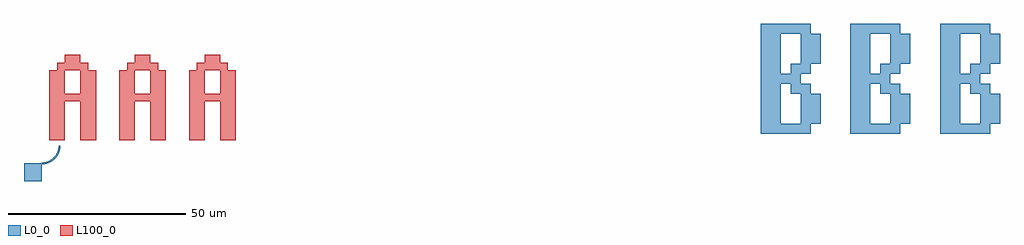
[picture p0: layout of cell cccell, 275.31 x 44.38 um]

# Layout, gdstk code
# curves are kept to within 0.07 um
import gdstk
lib = gdstk.Library(unit=1e-6, precision=1e-09)
def R(c, l, rs):  # rectangles x0, y0, x1, y1
    for r in rs: c.add(gdstk.rectangle(r[:2], r[2:], *l))
def P(c, l, *ps):  # polygons
    for p in ps: c.add(gdstk.Polygon(p, *l))
L0_0 = (0, 0)
L100_0 = (100, 0)

cccell_trace = lib.new_cell('cccell_trace')
P(cccell_trace, L0_0, [(0,0.225),(0,-0.225),(1.264,-0.07),(2.453,0.387),(3.496,1.117),(4.28,2.003),(4.81,2.958),(5.111,3.914),(5.225,5),(4.775,5),(4.679,4.047),(4.395,3.132),(3.934,2.293),(3.251,1.503),(2.562,0.97),(1.706,0.54),(0.867,0.304)])

cccell_text = lib.new_cell('cccell_text')
P(cccell_text, L100_0, [(6.562,6.562),(6.562,17.5),(10.937,17.5),(10.937,6.562),(15.312,6.562),(15.312,26.25),(13.125,26.25),(13.125,28.437),(10.937,28.437),(10.937,30.625),(6.562,30.625),(6.562,28.437),(4.375,28.437),(4.375,26.25),(2.187,26.25),(2.187,19.687),(6.562,19.687),(6.562,26.25),(10.937,26.25),(10.937,19.687),(6.562,19.687),(2.187,19.687),(2.187,6.562)],
  [(26.25,6.562),(26.25,17.5),(30.625,17.5),(30.625,6.562),(35,6.562),(35,26.25),(32.812,26.25),(32.812,28.437),(30.625,28.437),(30.625,30.625),(26.25,30.625),(26.25,28.437),(24.062,28.437),(24.062,26.25),(21.875,26.25),(21.875,19.687),(26.25,19.687),(26.25,26.25),(30.625,26.25),(30.625,19.687),(26.25,19.687),(21.875,19.687),(21.875,6.562)],
  [(45.937,6.562),(45.937,17.5),(50.312,17.5),(50.312,6.562),(54.687,6.562),(54.687,26.25),(52.5,26.25),(52.5,28.437),(50.312,28.437),(50.312,30.625),(45.937,30.625),(45.937,28.437),(43.75,28.437),(43.75,26.25),(41.562,26.25),(41.562,19.687),(45.937,19.687),(45.937,26.25),(50.312,26.25),(50.312,19.687),(45.937,19.687),(41.562,19.687),(41.562,6.562)])
cccell_text.add(gdstk.Reference(cccell_trace, (0,0)))

cccell_tcell = lib.new_cell('cccell_tcell')
P(cccell_tcell, L0_0, [(219.687,19.687),(216.875,19.687),(216.875,22.5),(214.062,22.5),(214.062,25.312),(216.875,25.312),(216.875,28.125),(219.687,28.125),(219.687,36.562),(216.875,36.562),(216.875,39.375),(202.812,39.375),(202.812,25.312),(208.437,25.312),(208.437,36.562),(214.062,36.562),(214.062,28.125),(211.25,28.125),(211.25,25.312),(208.437,25.312),(202.812,25.312),(202.812,11.25),(208.437,11.25),(208.437,22.5),(211.25,22.5),(211.25,19.687),(214.062,19.687),(214.062,11.25),(208.437,11.25),(202.812,11.25),(202.812,8.437),(216.875,8.437),(216.875,11.25),(219.687,11.25)],
  [(245,19.687),(242.187,19.687),(242.187,22.5),(239.375,22.5),(239.375,25.312),(242.187,25.312),(242.187,28.125),(245,28.125),(245,36.562),(242.187,36.562),(242.187,39.375),(228.125,39.375),(228.125,25.312),(233.75,25.312),(233.75,36.562),(239.375,36.562),(239.375,28.125),(236.562,28.125),(236.562,25.312),(233.75,25.312),(228.125,25.312),(228.125,11.25),(233.75,11.25),(233.75,22.5),(236.562,22.5),(236.562,19.687),(239.375,19.687),(239.375,11.25),(233.75,11.25),(228.125,11.25),(228.125,8.437),(242.187,8.437),(242.187,11.25),(245,11.25)],
  [(270.312,19.687),(267.5,19.687),(267.5,22.5),(264.687,22.5),(264.687,25.312),(267.5,25.312),(267.5,28.125),(270.312,28.125),(270.312,36.562),(267.5,36.562),(267.5,39.375),(253.437,39.375),(253.437,25.312),(259.062,25.312),(259.062,36.562),(264.687,36.562),(264.687,28.125),(261.875,28.125),(261.875,25.312),(259.062,25.312),(253.437,25.312),(253.437,11.25),(259.062,11.25),(259.062,22.5),(261.875,22.5),(261.875,19.687),(264.687,19.687),(264.687,11.25),(259.062,11.25),(253.437,11.25),(253.437,8.437),(267.5,8.437),(267.5,11.25),(270.312,11.25)])

cccell = lib.new_cell('cccell')
R(cccell, L0_0, [(-5,-5,0,0)])
cccell.add(gdstk.Reference(cccell_text, (0,0)))
cccell.add(gdstk.Reference(cccell_tcell, (0,0)))

lib.write_gds('cccell.gds')
